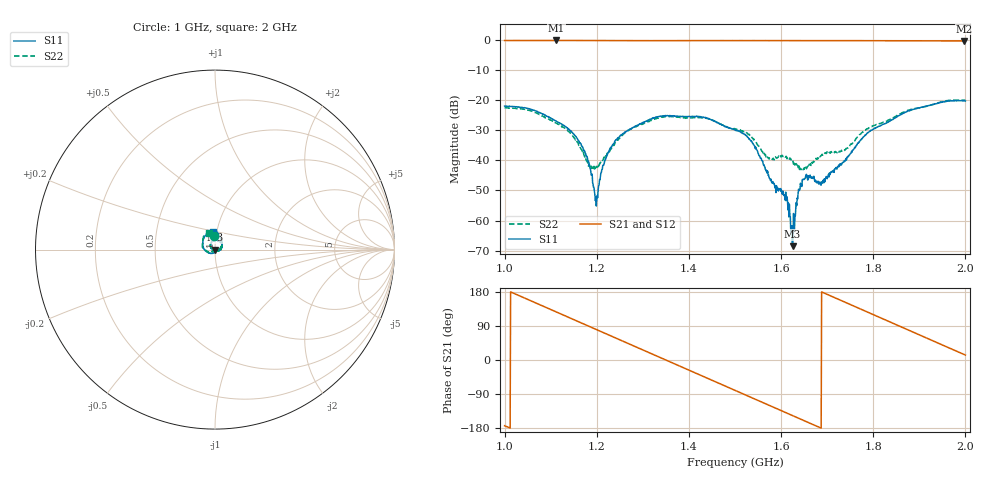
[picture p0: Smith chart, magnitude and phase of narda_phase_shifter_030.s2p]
#  HZ  S  DB  R  50.00
! Rohde & Schwarz Vector Network Analyzer
! Rohde-Schwarz,ZNB8-4Port,1311601044102961,2.82
! Created: UTC 3/4/2022, 4:04:32 PM
! freq[Hz]  db:S11  ang:S11  db:S21  ang:S21  db:S12  ang:S12  db:S22  ang:S22
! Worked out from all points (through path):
!   1001 points, 1 GHz to 2 GHz, reference 50 ohm
!   highest |S21| = -0.15 dB at 1.112 GHz (marker M1); lowest = -0.3 dB at 1.998 GHz (marker M2)
!   group delay of S21, straight-line fit = 1.48 ns
!   lowest |S11| = -68.5 dB at 1.625 GHz (marker M3), VSWR 1.00, Z = 50 - j0.0342 ohm
!   |S11| at or under -10 dB: start of sweep to end of sweep
!   |S22| runs from -43.3 to -19.9 dB; largest |S21 - S12| = 0.0024
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1e9  -21.94 95.3  -0.17 -173.4  -0.16 -173.4  -22.54 94.2
1.054e9  -22.86 64.8  -0.18 157.9  -0.16 157.8  -23.42 64.0
1.112e9  -26.94 31.9  -0.15 126.9  -0.15 126.9  -27.62 27.9
1.167e9  -35.27 -11.6  -0.16 97.5  -0.15 97.5  -36.38 -7.9
1.199e9  -55.14 -119.1  -0.16 80.4  -0.16 80.4  -42.02 -114.0
1.218e9  -39.73 177.4  -0.17 70.2  -0.17 70.2  -39.41 -162.3
1.241e9  -33.37 162.5  -0.18 57.9  -0.17 57.8  -33.91 162.1
1.334e9  -25.44 101.9  -0.22 8.5  -0.22 8.5  -25.93 104.6
1.409e9  -25.45 53.6  -0.21 -31.4  -0.21 -31.4  -25.79 60.3
1.5e9  -29.85 2.6  -0.20 -80.0  -0.20 -79.9  -29.62 2.6
1.536e9  -33.61 -20.0  -0.20 -99.2  -0.20 -99.2  -32.30 -20.1
1.572e9  -44.98 -59.3  -0.20 -118.4  -0.20 -118.4  -39.16 -57.8
1.609e9  -53.25 -61.8  -0.20 -138.2  -0.21 -138.2  -38.88 -88.5
1.625e9  -68.50 -114.5  -0.21 -146.7  -0.20 -146.7  -39.92 -99.5
1.643e9  -48.35 94.3  -0.21 -156.3  -0.20 -156.3  -43.07 -129.0
1.667e9  -45.45 71.0  -0.21 -169.1  -0.21 -169.1  -40.68 -150.1
1.69e9  -47.37 -0.7  -0.22 178.6  -0.22 178.6  -38.20 -139.1
1.744e9  -38.83 -77.4  -0.23 149.7  -0.22 149.8  -35.83 -144.5
1.834e9  -27.09 -160.4  -0.25 101.6  -0.24 101.6  -26.56 -170.8
1.908e9  -22.22 151.8  -0.27 62.1  -0.26 62.1  -22.29 156.5
1.998e9  -20.26 98.1  -0.32 14.1  -0.32 14.1  -20.01 110.6
2e9  -20.25 97.1  -0.32 13.1  -0.31 13.1  -20.00 109.6
